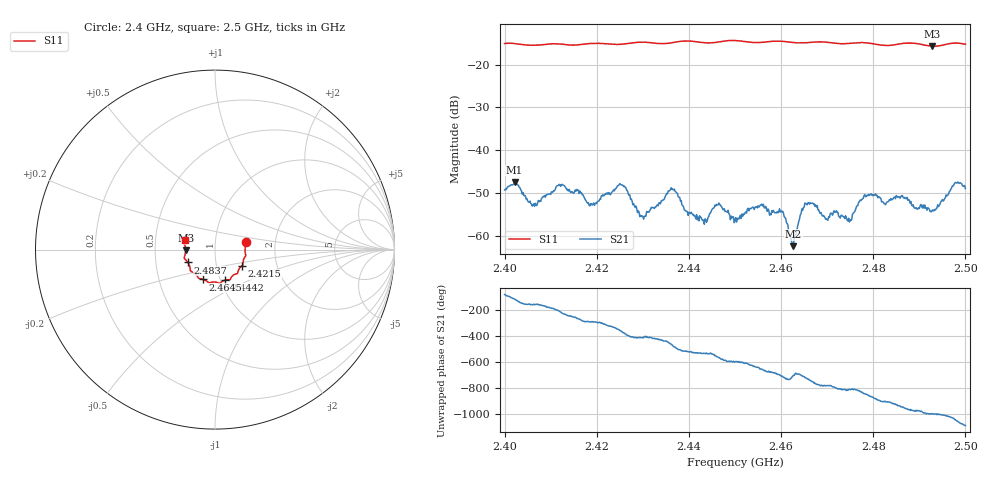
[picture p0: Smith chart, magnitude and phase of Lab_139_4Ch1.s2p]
# Hz S RI R 50
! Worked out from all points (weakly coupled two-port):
!   601 points, 2.4 GHz to 2.5 GHz, reference 50 ohm
!   highest |S21| = -47.37 dB at 2.4022 GHz (marker M1); lowest = -62.3 dB at 2.4627 GHz (marker M2)
!   lowest |S11| = -15.7 dB at 2.4928 GHz (marker M3), VSWR 1.39, Z = 36 - j0.367 ohm
!   |S11| at or under -10 dB: start of sweep to end of sweep
!   S12 and S22 are empty: the file has one direction only
!   S11 on the Smith chart (normalised r, x): 2.4 GHz: 1.41, +0.12; 2.4215 GHz: 1.33, -0.25; 2.4442 GHz: 1.05, -0.37; 2.4645 GHz: 0.83, -0.29; 2.4837 GHz: 0.73, -0.11; 2.5 GHz: 0.71, +0.07
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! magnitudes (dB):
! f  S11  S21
! 2.4 GHz  -15.1  -49.2
! 2.4022 GHz  -15.1  -47.4
! 2.4065 GHz  -15.5  -53.0
! 2.412 GHz  -15.2  -48.0
! 2.4167 GHz  -15.3  -49.8
! 2.4215 GHz  -15.1  -50.6
! 2.4255 GHz  -15.3  -48.0
! 2.4298 GHz  -14.8  -55.3
! 2.4333 GHz  -15.1  -52.9
! 2.4365 GHz  -14.9  -49.0
! 2.4442 GHz  -15.0  -55.6
! 2.45 GHz  -14.4  -56.3
! 2.46 GHz  -14.6  -54.1
! 2.4627 GHz  -14.9  -62.3
! 2.4645 GHz  -15.0  -53.7
! 2.4667 GHz  -14.8  -52.3
! 2.4748 GHz  -15.1  -56.7
! 2.4785 GHz  -14.9  -50.7
! 2.4833 GHz  -15.6  -51.9
! 2.4837 GHz  -15.5  -51.6
! 2.4928 GHz  -15.7  -53.9
! 2.5 GHz  -15.3  -48.9
